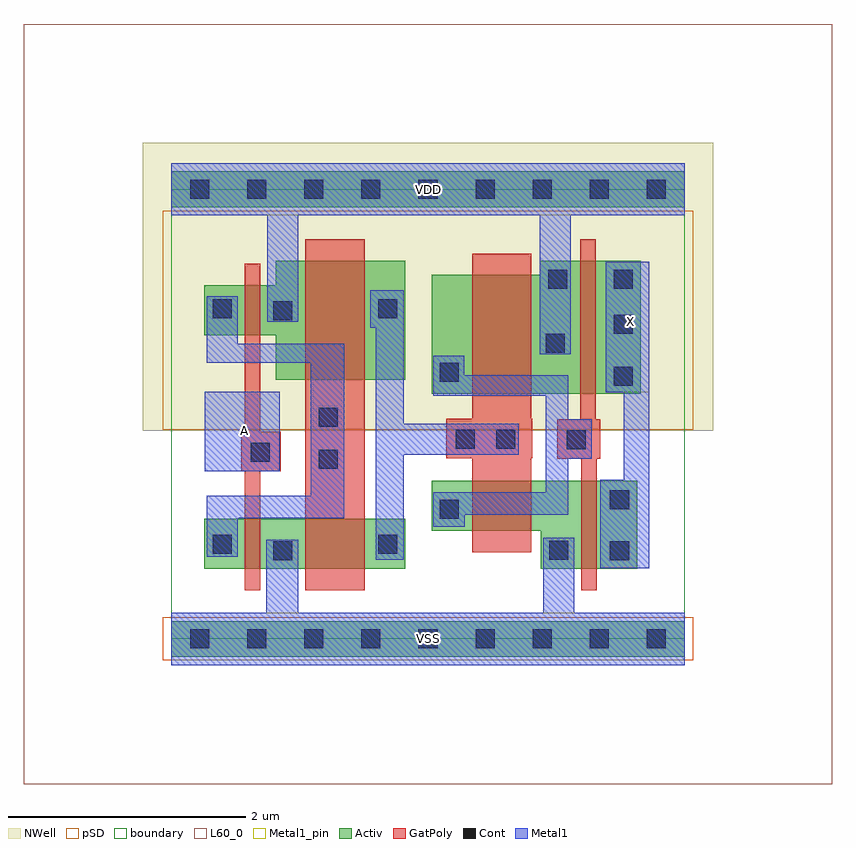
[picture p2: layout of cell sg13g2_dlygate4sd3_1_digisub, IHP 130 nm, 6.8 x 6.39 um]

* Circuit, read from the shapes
.subckt sg13g2_dlygate4sd3_1_digisub A VDD VSS X
XM1 VSS A n1 VSS sg13_lv_nmos w=0.42u l=0.13u
XM2 n2 n1 VSS VSS sg13_lv_nmos w=0.42u l=0.5u
XM3 VSS n2 n3 VSS sg13_lv_nmos w=0.42u l=0.5u
XM4 X n3 VSS VSS sg13_lv_nmos w=0.74u l=0.13u
XM5 VDD A n1 VDD sg13_lv_pmos w=0.42u l=0.13u
XM6 n2 n1 VDD VDD sg13_lv_pmos w=1u l=0.5u
XM7 VDD n2 n3 VDD sg13_lv_pmos w=1u l=0.5u
XM8 X n3 VDD VDD sg13_lv_pmos w=1.12u l=0.13u
.ends

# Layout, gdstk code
import gdstk
lib = gdstk.Library(unit=1e-6, precision=1e-09)
def R(c, l, rs):  # rectangles x0, y0, x1, y1
    for r in rs: c.add(gdstk.rectangle(r[:2], r[2:], *l))
def P(c, l, *ps):  # polygons
    for p in ps: c.add(gdstk.Polygon(p, *l))
Activ = (1, 0)
GatPoly = (5, 0)
Cont = (6, 0)
Metal1 = (8, 0)
Metal1_pin = (8, 2)
pSD = (14, 0)
NWell = (31, 0)
L60_0 = (60, 0)
boundary = (189, 4)

sg13g2_dlygate4sd3_1_dig = lib.new_cell('sg13g2_dlygate4sd3_1_digisub')
R(sg13g2_dlygate4sd3_1_dig, Activ, [(0,-0.15,4.32,0.15), (0.28,0.59,1.97,1.01), (0,3.63,4.32,3.93)])
P(sg13g2_dlygate4sd3_1_dig, Activ, [(3.95,3.18),(3.1,3.18),(3.1,3.06),(2.19,3.06),(2.19,2.06),(3.95,2.06)],
  [(3.92,1.33),(2.19,1.33),(2.19,0.91),(3.11,0.91),(3.11,0.59),(3.92,0.59)],
  [(1.97,3.18),(0.88,3.18),(0.88,2.975),(0.28,2.975),(0.28,2.555),(0.88,2.555),(0.88,2.18),(1.97,2.18)])
R(sg13g2_dlygate4sd3_1_dig, GatPoly, [(1.13,0.41,1.63,3.36)])
P(sg13g2_dlygate4sd3_1_dig, GatPoly, [(0.92,1.74),(0.75,1.74),(0.75,3.155),(0.62,3.155),(0.62,1.74),(0.59,1.74),(0.59,1.41),(0.62,1.41),(0.62,0.41),(0.75,0.41),(0.75,1.41),(0.92,1.41)],
  [(3.61,1.845),(3.57,1.845),(3.57,3.36),(3.44,3.36),(3.44,1.845),(3.245,1.845),(3.245,1.515),(3.45,1.515),(3.45,0.41),(3.58,0.41),(3.58,1.515),(3.61,1.515)],
  [(3.035,1.85),(3.03,1.85),(3.03,3.24),(2.53,3.24),(2.53,1.85),(2.315,1.85),(2.315,1.52),(2.53,1.52),(2.53,0.73),(3.03,0.73),(3.03,1.52),(3.035,1.52)])
R(sg13g2_dlygate4sd3_1_dig, Cont, [(0.16,-0.08,0.32,0.08), (0.16,-0.08,0.32,0.08), (0.64,-0.08,0.8,0.08), (0.64,-0.08,0.8,0.08), (1.12,-0.08,1.28,0.08), (1.12,-0.08,1.28,0.08), (1.6,-0.08,1.76,0.08), (1.6,-0.08,1.76,0.08), (2.08,-0.08,2.24,0.08), (2.08,-0.08,2.24,0.08), (2.56,-0.08,2.72,0.08), (2.56,-0.08,2.72,0.08), (3.04,-0.08,3.2,0.08), (3.04,-0.08,3.2,0.08), (3.52,-0.08,3.68,0.08), (3.52,-0.08,3.68,0.08), (4,-0.08,4.16,0.08), (4,-0.08,4.16,0.08), (0.86,0.66,1.02,0.82), (3.69,0.66,3.85,0.82), (3.18,0.665,3.34,0.825), (0.35,0.715,0.51,0.875), (1.74,0.715,1.9,0.875), (2.26,1.01,2.42,1.17), (3.69,1.09,3.85,1.25), (1.24,1.43,1.4,1.59), (0.67,1.49,0.83,1.65), (3.325,1.595,3.485,1.755), (2.395,1.6,2.555,1.76), (2.735,1.6,2.895,1.76), (1.24,1.785,1.4,1.945), (3.72,2.13,3.88,2.29), (2.26,2.16,2.42,2.32), (3.15,2.405,3.31,2.565), (3.72,2.565,3.88,2.725), (0.86,2.68,1.02,2.84), (0.35,2.695,0.51,2.855), (1.74,2.695,1.9,2.855), (3.17,2.945,3.33,3.105), (3.72,2.945,3.88,3.105), (0.16,3.7,0.32,3.86), (0.16,3.7,0.32,3.86), (0.64,3.7,0.8,3.86), (0.64,3.7,0.8,3.86), (1.12,3.7,1.28,3.86), (1.12,3.7,1.28,3.86), (1.6,3.7,1.76,3.86), (1.6,3.7,1.76,3.86), (2.08,3.7,2.24,3.86), (2.08,3.7,2.24,3.86), (2.56,3.7,2.72,3.86), (2.56,3.7,2.72,3.86), (3.04,3.7,3.2,3.86), (3.04,3.7,3.2,3.86), (3.52,3.7,3.68,3.86), (3.52,3.7,3.68,3.86), (4,3.7,4.16,3.86), (4,3.7,4.16,3.86)])
R(sg13g2_dlygate4sd3_1_dig, Metal1, [(0.285,1.41,0.915,2.08)])
P(sg13g2_dlygate4sd3_1_dig, Metal1, [(4.02,3.17),(3.655,3.17),(3.655,2.075),(3.805,2.075),(3.805,1.34),(3.61,1.34),(3.61,0.595),(4.02,0.595)],
  [(4.32,0.22),(3.39,0.22),(3.39,0.85),(3.13,0.85),(3.13,0.22),(1.07,0.22),(1.07,0.835),(0.8,0.835),(0.8,0.22),(0,0.22),(0,-0.22),(4.32,-0.22)],
  [(4.32,4),(0,4),(0,3.56),(0.81,3.56),(0.81,2.665),(1.07,2.665),(1.07,3.56),(3.1,3.56),(3.1,2.395),(3.36,2.395),(3.36,3.56),(4.32,3.56)],
  [(3.535,1.845),(3.34,1.845),(3.34,2.215),(2.465,2.215),(2.465,2.38),(2.205,2.38),(2.205,2.045),(3.15,2.045),(3.15,1.235),(2.205,1.235),(2.205,0.945),(2.47,0.945),(2.47,1.045),(3.34,1.045),(3.34,1.515),(3.535,1.515)],
  [(2.925,1.81),(1.955,1.81),(1.955,2.93),(1.675,2.93),(1.675,2.615),(1.72,2.615),(1.72,0.665),(1.955,0.665),(1.955,1.55),(2.925,1.55)],
  [(1.455,2.48),(0.56,2.48),(0.56,2.88),(0.3,2.88),(0.3,2.32),(1.175,2.32),(1.175,1.205),(0.3,1.205),(0.3,0.69),(0.56,0.69),(0.56,1.015),(1.455,1.015)])
R(sg13g2_dlygate4sd3_1_dig, Metal1_pin, [(0,-0.22,4.32,0.22), (0.285,1.41,0.915,2.08), (3.655,2.075,4.02,3.17), (0,3.56,4.32,4)])
R(sg13g2_dlygate4sd3_1_dig, pSD, [(-0.07,-0.18,4.39,0.18), (-0.07,1.76,4.39,3.6)])
R(sg13g2_dlygate4sd3_1_dig, NWell, [(-0.24,1.75,4.56,4.17)])
R(sg13g2_dlygate4sd3_1_dig, L60_0, [(-1.24,-1.22,5.56,5.17)])
R(sg13g2_dlygate4sd3_1_dig, boundary, [(0,0,4.32,3.78)])
sg13g2_dlygate4sd3_1_dig.add(gdstk.Label('A', (0.62,1.755), layer=8, texttype=25))
sg13g2_dlygate4sd3_1_dig.add(gdstk.Label('VDD', (2.16,3.78), layer=8, texttype=25))
sg13g2_dlygate4sd3_1_dig.add(gdstk.Label('VSS', (2.16,0), layer=8, texttype=25))
sg13g2_dlygate4sd3_1_dig.add(gdstk.Label('X', (3.865,2.67), layer=8, texttype=25))

lib.write_gds('sg13g2_dlygate4sd3_1_digisub.gds')
